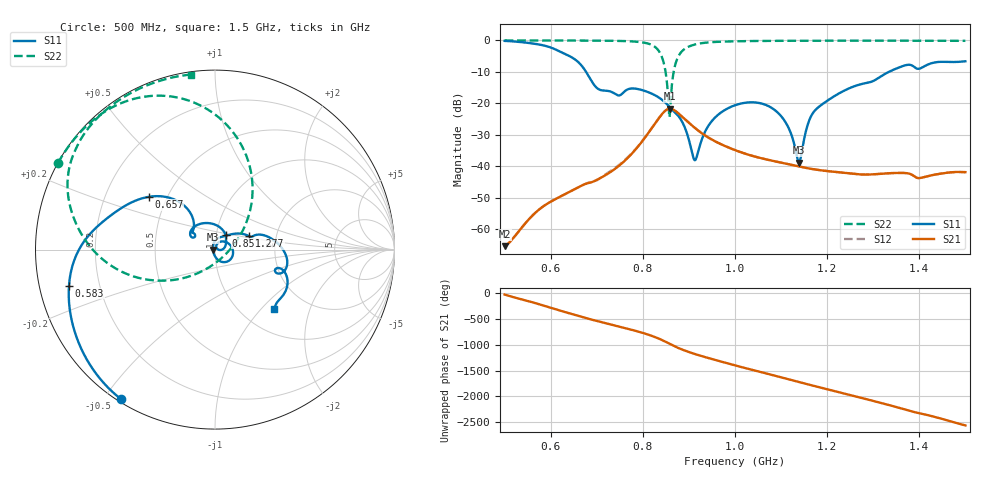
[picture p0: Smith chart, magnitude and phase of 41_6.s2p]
! TOUCHSTONE file generated by CST MICROWAVE STUDIO
! Date and time: Sat Oct 24 11:50:38 2020
! Project name: Scenario_1_Circular_Tissue_out_of_Line.cst
! Parameters = {dy1=346; L_HA=400; MT=2.54; Rad_Dielectric=30; Rad_Lower=7.3; Rad_Upper=30; a_HA=580; a_WG=246; b_HA=500; b_WG=121; c_HA=0; c_WG=187; d_feed=85; dx1=1039; h_feed=15; h_lower=18; h_upper=40}
! Header version: 2018
! Port assignment regex: !\s*Touchstone port\s*([0-9]+)\s*=\s*(CST MWS port|CST DS port)\s*([0-9]+|Zmin|Zmax)\s*\(\"(.*)\"\)(\s*mode\s*([0-9]+))?.*
! Touchstone port assignment:
! Touchstone port 1 = CST MWS port 1 ("")
! Touchstone port 2 = CST MWS port 2 ("")
# GHz S DB R 50
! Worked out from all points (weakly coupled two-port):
!   1001 points, 500 MHz to 1.5 GHz, reference 50 ohm
!   highest |S21| = -21.70 dB at 859 MHz (marker M1); lowest = -65.4 dB at 500 MHz (marker M2)
!   lowest |S11| = -38.9 dB at 1.139 GHz (marker M3), VSWR 1.02, Z = 48.9 - j0.119 ohm
!   |S11| at or under -10 dB: 676.8 MHz to 1.334 GHz (657.1 MHz wide, 65.4 % of centre)
!   |S22| runs from -24.5 to 0.0 dB; largest |S21 - S12| = 0.00081
!   S11 on the Smith chart (normalised r, x): 500 MHz: 0.01, -0.55; 583 MHz: 0.09, -0.12; 657 MHz: 0.40, +0.30; 851 MHz: 1.11, +0.18; 1.277 GHz: 1.45, +0.23; 1.5 GHz: 1.41, -1.18
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0.5  -0.14 -122.2  -65.44 -27.0  -65.45 -27.2  -0.01 151.1
0.583  -1.54 -166.2  -52.88 123.4  -52.85 123.8  -0.02 145.4
0.657  -6.52 141.5  -46.92 -72.2  -46.92 -72.3  -0.04 139.3
0.667  -8.00 132.7  -46.18 -97.7  -46.19 -97.6  -0.04 138.4
0.706  -15.66 136.8  -43.91 167.6  -43.94 167.5  -0.07 134.1
0.779  -15.28 134.9  -35.56 2.5  -35.39 0.1  -0.33 120.7
0.815  -16.65 98.3  -28.82 -93.8  -28.73 -93.3  -1.17 104.0
0.834  -18.09 75.2  -24.89 -158.5  -24.84 -158.2  -3.22 83.9
0.851  -20.08 52.8  -22.09 130.4  -22.13 130.4  -11.72 44.4
0.859  -21.41 43.5  -21.70 93.4  -21.70 93.4  -22.71 -86.4
0.868  -22.69 32.8  -22.18 53.5  -22.18 53.5  -9.17 -150.2
0.876  -23.87 22.2  -23.07 21.4  -23.08 21.5  -5.39 -167.0
0.913  -38.10 33.9  -27.84 -99.4  -27.84 -99.5  -1.30 161.1
0.947  -26.15 59.0  -31.31 170.9  -31.31 171.0  -0.58 149.7
1  -20.62 9.8  -34.88 40.9  -34.88 40.9  -0.27 140.3
1.089  -22.46 -63.1  -38.53 -164.4  -38.53 -164.4  -0.13 130.7
1.116  -27.73 -86.8  -39.39 131.6  -39.38 131.7  -0.12 128.3
1.139  -38.93 -173.8  -40.11 77.1  -40.11 77.2  -0.10 126.4
1.167  -23.58 74.6  -40.90 13.1  -40.90 13.1  -0.10 124.2
1.277  -13.79 21.3  -42.65 124.9  -42.68 125.2  -0.08 115.8
1.334  -10.00 11.7  -42.24 -7.4  -42.24 -7.4  -0.09 111.5
1.5  -6.63 -44.8  -41.89 -43.1  -42.02 -42.7  -0.13 97.9
